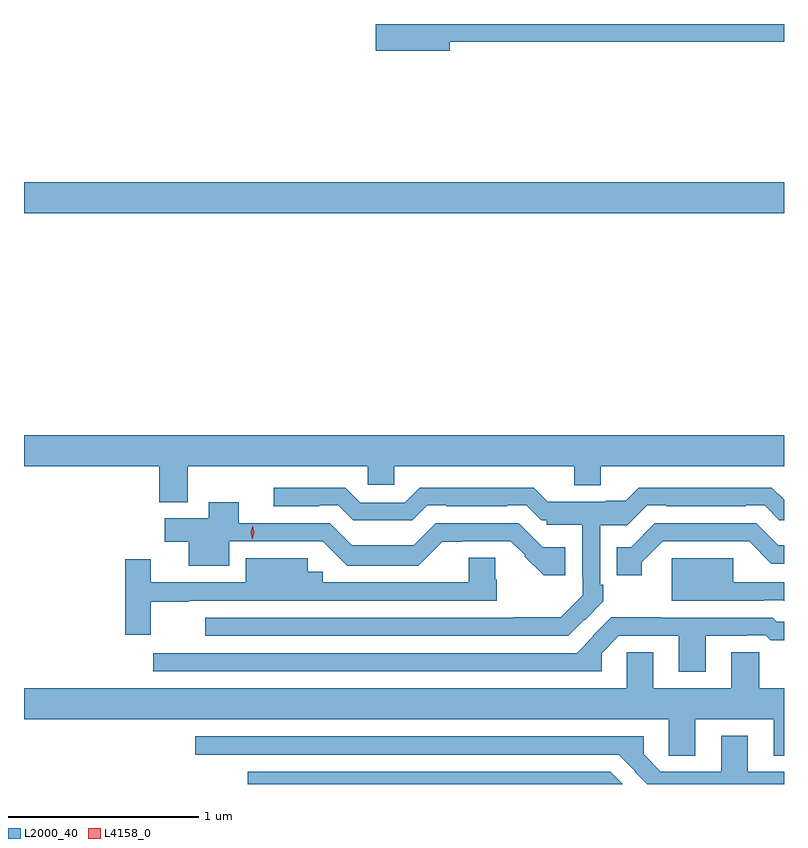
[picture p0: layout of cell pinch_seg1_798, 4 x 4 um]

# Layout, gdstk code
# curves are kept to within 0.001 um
import gdstk
lib = gdstk.Library(unit=1e-6, precision=1e-09)
def R(c, l, rs):  # rectangles x0, y0, x1, y1
    for r in rs: c.add(gdstk.rectangle(r[:2], r[2:], *l))
def P(c, l, *ps):  # polygons
    for p in ps: c.add(gdstk.Polygon(p, *l))
L2000_40 = (2000, 40)
L4158_0 = (4158, 0)

pinch_seg1_798 = lib.new_cell('pinch_seg1_798')
R(pinch_seg1_798, L2000_40, [(386.372,570.38,390.372,570.544)])
P(pinch_seg1_798, L2000_40, [(388.612,571.282),(390.372,571.282),(390.372,571.376),(388.224,571.376),(388.224,571.235),(388.612,571.235)],
  [(387.235,569.048),(388.182,569.048),(388.182,568.95),(388.32,568.95),(388.32,569.048),(389.267,569.048),(389.267,568.949),(389.407,568.949),(389.407,569.048),(390.372,569.048),(390.372,569.212),(386.372,569.212),(386.372,569.048),(387.083,569.048),(387.083,568.859),(387.235,568.859)],
  [(389.321,568.24),(389.322,568.239),(389.421,568.338),(389.421,568.426),(389.406,568.426),(389.406,568.737),(389.547,568.737),(389.652,568.842),(389.752,568.842),(389.752,568.839),(390.17,568.839),(390.17,568.842),(390.27,568.842),(390.348,568.764),(390.372,568.764),(390.372,568.872),(390.308,568.936),(389.608,568.936),(389.538,568.866),(389.435,568.866),(389.435,568.861),(389.129,568.861),(389.054,568.936),(388.456,568.936),(388.377,568.857),(388.143,568.857),(388.064,568.936),(387.687,568.936),(387.687,568.839),(387.926,568.839),(387.926,568.842),(388.026,568.842),(388.104,568.764),(388.416,568.764),(388.494,568.842),(388.594,568.842),(388.594,568.839),(388.916,568.839),(388.916,568.842),(389.016,568.842),(389.094,568.764),(389.124,568.764),(389.124,568.74),(389.31,568.74),(389.31,568.468),(389.313,568.468),(389.313,568.369),(389.197,568.253),(388.948,568.253),(388.948,568.251),(387.327,568.251),(387.327,568.155),(389.236,568.155)],
  [(389.221,568.622),(389.103,568.622),(388.975,568.749),(388.539,568.749),(388.422,568.632),(388.098,568.632),(387.981,568.749),(387.502,568.749),(387.502,568.858),(387.344,568.858),(387.344,568.774),(387.114,568.774),(387.114,568.652),(387.239,568.652),(387.239,568.526),(387.451,568.526),(387.451,568.653),(387.945,568.653),(388.072,568.526),(388.448,568.526),(388.574,568.652),(388.935,568.653),(389.009,568.579),(389.006,568.576),(389.107,568.476),(389.221,568.476)],
  [(389.623,568.543),(389.733,568.653),(390.189,568.653),(390.306,568.536),(390.372,568.536),(390.372,568.633),(390.341,568.633),(390.225,568.749),(389.693,568.749),(389.567,568.623),(389.491,568.623),(389.491,568.476),(389.623,568.476)],
  [(387.04,568.336),(387.239,568.336),(387.239,568.341),(387.643,568.341),(387.643,568.34),(387.842,568.34),(387.842,568.341),(388.86,568.341),(388.86,568.452),(388.852,568.452),(388.852,568.568),(388.712,568.568),(388.712,568.437),(387.945,568.437),(387.945,568.494),(387.865,568.494),(387.865,568.564),(387.539,568.564),(387.539,568.437),(387.04,568.437),(387.04,568.558),(386.906,568.558),(386.906,568.161),(387.04,568.161)],
  [(390.372,568.437),(390.106,568.437),(390.106,568.564),(389.78,568.564),(389.78,568.34),(390.002,568.34),(390.002,568.341),(390.266,568.341),(390.266,568.344),(390.366,568.344),(390.372,568.338)],
  [(389.959,568.155),(390.176,568.155),(390.176,568.158),(390.276,568.158),(390.302,568.132),(390.372,568.132),(390.372,568.23),(390.333,568.23),(390.312,568.251),(389.723,568.251),(389.723,568.254),(389.463,568.254),(389.365,568.156),(389.368,568.153),(389.28,568.065),(387.051,568.065),(387.051,567.969),(389.412,567.969),(389.412,568.065),(389.502,568.155),(389.819,568.155),(389.819,567.966),(389.959,567.966)],
  [(389.905,567.716),(390.317,567.716),(390.317,567.526),(390.372,567.526),(390.372,567.88),(390.243,567.88),(390.243,568.07),(390.095,568.07),(390.095,567.88),(389.683,567.88),(389.683,568.07),(389.544,568.07),(389.544,567.88),(386.372,567.88),(386.372,567.716),(389.766,567.716),(389.766,567.526),(389.905,567.526)],
  [(390.372,567.441),(390.181,567.441),(390.181,567.631),(390.041,567.631),(390.041,567.441),(389.724,567.441),(389.634,567.532),(389.634,567.627),(387.273,567.627),(387.273,567.531),(389.502,567.531),(389.59,567.443),(389.587,567.44),(389.652,567.376),(390.372,567.376)],
  [(389.458,567.441),(387.549,567.441),(387.549,567.376),(389.523,567.376)])
P(pinch_seg1_798, L4158_0, [(387.573,568.663),(387.573,568.663),(387.565,568.7),(387.576,568.735),(387.576,568.735),(387.576,568.735),(387.585,568.699),(387.574,568.663)])

lib.write_gds('pinch_seg1_798.gds')
